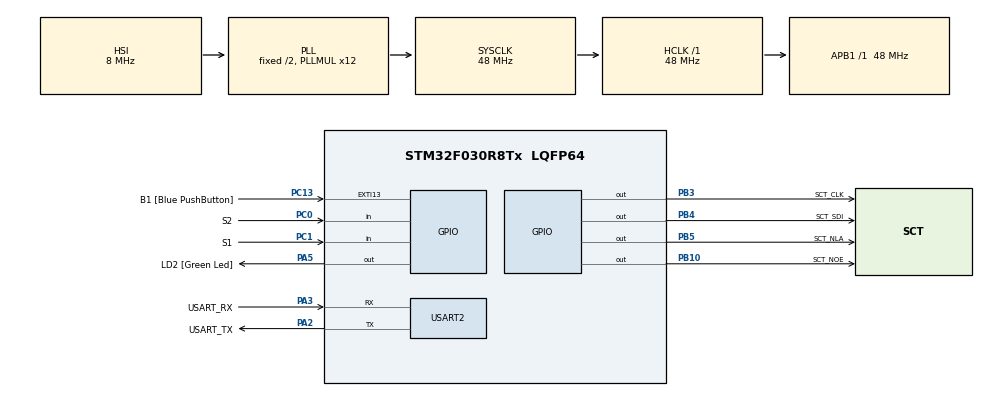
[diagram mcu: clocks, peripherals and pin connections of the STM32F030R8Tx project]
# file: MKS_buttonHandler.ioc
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Mcu.Family=STM32F0
Mcu.Name=STM32F030R8Tx
Mcu.Package=LQFP64
PA13.GPIO_Label=TMS
PA13.Mode=Serial_Wire
PA13.Signal=SYS_SWDIO
PA14.GPIO_Label=TCK
PA14.Mode=Serial_Wire
PA14.Signal=SYS_SWCLK
PA2.GPIO_Label=USART_TX
PA2.GPIO_Mode=GPIO_MODE_AF_PP
PA2.GPIO_PuPd=GPIO_NOPULL
PA2.GPIO_Speed=GPIO_SPEED_FREQ_LOW
PA2.Mode=Asynchronous
PA2.Signal=USART2_TX
PA3.GPIO_Label=USART_RX
PA3.GPIO_Mode=GPIO_MODE_AF_PP
PA3.GPIO_PuPd=GPIO_NOPULL
PA3.GPIO_Speed=GPIO_SPEED_FREQ_LOW
PA3.Mode=Asynchronous
PA3.Signal=USART2_RX
PA5.GPIO_Label=LD2 [Green Led]
PA5.GPIO_Mode=GPIO_MODE_OUTPUT_PP
PA5.GPIO_PuPd=GPIO_NOPULL
PA5.GPIO_Speed=GPIO_SPEED_FREQ_LOW
PA5.Signal=GPIO_Output
PB10.GPIO_Label=SCT_NOE
PB10.Signal=GPIO_Output
PB3.GPIO_Label=SCT_CLK
PB3.Signal=GPIO_Output
PB4.GPIO_Label=SCT_SDI
PB4.Signal=GPIO_Output
PB5.GPIO_Label=SCT_NLA
PB5.Signal=GPIO_Output
PC0.GPIO_Label=S2
PC0.GPIO_PuPd=GPIO_PULLUP
PC0.Signal=GPIO_Input
PC1.GPIO_Label=S1
PC1.GPIO_PuPd=GPIO_PULLUP
PC1.Signal=GPIO_Input
PC13.GPIO_Label=B1 [Blue PushButton]
PC13.GPIO_ModeDefaultEXTI=GPIO_MODE_IT_FALLING
PC13.Signal=GPXTI13
PC14-OSC32_IN.Mode=LSE-External-Oscillator
PC14-OSC32_IN.Signal=RCC_OSC32_IN
PC15-OSC32_OUT.Mode=LSE-External-Oscillator
PC15-OSC32_OUT.Signal=RCC_OSC32_OUT
PF0-OSC_IN.Mode=HSE-External-Clock-Source
PF0-OSC_IN.Signal=RCC_OSC_IN
PF1-OSC_OUT.Signal=RCC_OSC_OUT
ProjectManager.HeapSize=0x200
ProjectManager.StackSize=0x400
ProjectManager.TargetToolchain=STM32CubeIDE
RCC.AHBFreq_Value=48000000
RCC.APB1Freq_Value=48000000
RCC.APB1TimFreq_Value=48000000
RCC.HCLKFreq_Value=48000000
RCC.PLLMUL=RCC_PLL_MUL12
RCC.SYSCLKFreq_VALUE=48000000
RCC.SYSCLKSource=RCC_SYSCLKSOURCE_PLLCLK
USART2.VirtualMode-Asynchronous=VM_ASYNC
board=NUCLEO-F030R8

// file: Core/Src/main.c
/* USER CODE BEGIN Header */
/**
  ******************************************************************************
  * @file           : main.c
  * @brief          : Main program body
  ******************************************************************************
  * @attention
  *
  * Copyright (c) 2022 STMicroelectronics.
  * All rights reserved.
  *
  * This software is licensed under terms that can be found in the LICENSE file
  * in the root directory of this software component.
  * If no LICENSE file comes with this software, it is provided AS-IS.
  *
  ******************************************************************************
  */
/* USER CODE END Header */
#include "main.h"

/* USER CODE BEGIN Includes */
#include <stdbool.h>
#include <stdio.h>
#include "sct.h"
/* USER CODE END Includes */

/* USER CODE BEGIN PD */
#define DEBOUNCE_CONST 2
/* USER CODE END PD */

UART_HandleTypeDef huart2;

void SystemClock_Config(void);
static void MX_GPIO_Init(void);
static void MX_USART2_UART_Init(void);

/* USER CODE BEGIN 0 */

//----------BUTTON HANDLER--------------

void button(bool *p_state1, bool *p_state2){

	static uint16_t debounceS1 = 0xFFFF;
	static uint16_t debounceS2 = 0xFFFF;
	static uint32_t debounceDelay = 0;

	if(HAL_GetTick() > debounceDelay + DEBOUNCE_CONST){

		debounceS1 <<= 1;
		debounceS2 <<= 1;

		debounceDelay = HAL_GetTick();

		if(!HAL_GPIO_ReadPin(S1_GPIO_Port,S1_Pin)) debounceS1 |= 0x0001;
		if(!HAL_GPIO_ReadPin(S2_GPIO_Port,S2_Pin)) debounceS2 |= 0x0001;

		if(debounceS1 == 0x8000) *p_state1 =true;
		if(debounceS2 == 0x8000) *p_state2 = true;

	}else{
		*p_state1 = false;
		*p_state2 = false;
	}

}
/* USER CODE END 0 */

int main(void)
{

  /* MCU Configuration--------------------------------------------------------*/

  /* Reset of all peripherals, Initializes the Flash interface and the Systick. */
  HAL_Init();

  /* USER CODE BEGIN Init */
sct_init();
  /* USER CODE END Init */

  /* Configure the system clock */
  SystemClock_Config();

  /* Initialize all configured peripherals */
  MX_GPIO_Init();
  MX_USART2_UART_Init();

  /* Infinite loop */
  while (1)
  {

	  /* USER CODE BEGIN 3 */
	  static bool buttState1;
	  static bool buttState2;
	  static uint16_t cnt = 500;

	  button(&buttState1, &buttState2);

	  if(buttState1) cnt++;
	  if(buttState2) cnt--;

	  sct_value(cnt, 0);

  }
  /* USER CODE END 3 */
}

void SystemClock_Config(void)
{
  RCC_OscInitTypeDef RCC_OscInitStruct = {0};
  RCC_ClkInitTypeDef RCC_ClkInitStruct = {0};

  /** Initializes the RCC Oscillators according to the specified parameters
  * in the RCC_OscInitTypeDef structure.
  */
  RCC_OscInitStruct.OscillatorType = RCC_OSCILLATORTYPE_HSI;
  RCC_OscInitStruct.HSIState = RCC_HSI_ON;
  RCC_OscInitStruct.HSICalibrationValue = RCC_HSICALIBRATION_DEFAULT;
  RCC_OscInitStruct.PLL.PLLState = RCC_PLL_ON;
  RCC_OscInitStruct.PLL.PLLSource = RCC_PLLSOURCE_HSI;
  RCC_OscInitStruct.PLL.PLLMUL = RCC_PLL_MUL12;
  RCC_OscInitStruct.PLL.PREDIV = RCC_PREDIV_DIV1;
  if (HAL_RCC_OscConfig(&RCC_OscInitStruct) != HAL_OK)
  {
    Error_Handler();
  }
  /** Initializes the CPU, AHB and APB buses clocks
  */
  RCC_ClkInitStruct.ClockType = RCC_CLOCKTYPE_HCLK|RCC_CLOCKTYPE_SYSCLK
                              |RCC_CLOCKTYPE_PCLK1;
  RCC_ClkInitStruct.SYSCLKSource = RCC_SYSCLKSOURCE_PLLCLK;
  RCC_ClkInitStruct.AHBCLKDivider = RCC_SYSCLK_DIV1;
  RCC_ClkInitStruct.APB1CLKDivider = RCC_HCLK_DIV1;

  if (HAL_RCC_ClockConfig(&RCC_ClkInitStruct, FLASH_LATENCY_1) != HAL_OK)
  {
    Error_Handler();
  }
}

static void MX_USART2_UART_Init(void)
{

  huart2.Instance = USART2;
  huart2.Init.BaudRate = 38400;
  huart2.Init.WordLength = UART_WORDLENGTH_8B;
  huart2.Init.StopBits = UART_STOPBITS_1;
  huart2.Init.Parity = UART_PARITY_NONE;
  huart2.Init.Mode = UART_MODE_TX_RX;
  huart2.Init.HwFlowCtl = UART_HWCONTROL_NONE;
  huart2.Init.OverSampling = UART_OVERSAMPLING_16;
  huart2.Init.OneBitSampling = UART_ONE_BIT_SAMPLE_DISABLE;
  huart2.AdvancedInit.AdvFeatureInit = UART_ADVFEATURE_NO_INIT;
  if (HAL_UART_Init(&huart2) != HAL_OK)
  {
    Error_Handler();
  }

}

static void MX_GPIO_Init(void)
{
  GPIO_InitTypeDef GPIO_InitStruct = {0};

  /* GPIO Ports Clock Enable */
  __HAL_RCC_GPIOC_CLK_ENABLE();
  __HAL_RCC_GPIOF_CLK_ENABLE();
  __HAL_RCC_GPIOA_CLK_ENABLE();
  __HAL_RCC_GPIOB_CLK_ENABLE();

  /*Configure GPIO pin Output Level */
  HAL_GPIO_WritePin(GPIOA, GPIO_PIN_5, GPIO_PIN_RESET);

  /*Configure GPIO pin Output Level */
  HAL_GPIO_WritePin(GPIOB, GPIO_PIN_10|GPIO_PIN_3|GPIO_PIN_4|GPIO_PIN_5, GPIO_PIN_RESET);

  /*Configure GPIO pin : PC13 */
  GPIO_InitStruct.Pin = GPIO_PIN_13;
  GPIO_InitStruct.Mode = GPIO_MODE_IT_FALLING;
  GPIO_InitStruct.Pull = GPIO_NOPULL;
  HAL_GPIO_Init(GPIOC, &GPIO_InitStruct);

  /*Configure GPIO pins : PC0 PC1 */
  GPIO_InitStruct.Pin = GPIO_PIN_0|GPIO_PIN_1;
  GPIO_InitStruct.Mode = GPIO_MODE_INPUT;
  GPIO_InitStruct.Pull = GPIO_PULLUP;
  HAL_GPIO_Init(GPIOC, &GPIO_InitStruct);

  /*Configure GPIO pin : PA5 */
  GPIO_InitStruct.Pin = GPIO_PIN_5;
  GPIO_InitStruct.Mode = GPIO_MODE_OUTPUT_PP;
  GPIO_InitStruct.Pull = GPIO_NOPULL;
  GPIO_InitStruct.Speed = GPIO_SPEED_FREQ_LOW;
  HAL_GPIO_Init(GPIOA, &GPIO_InitStruct);

  /*Configure GPIO pins : PB10 PB3 PB4 PB5 */
  GPIO_InitStruct.Pin = GPIO_PIN_10|GPIO_PIN_3|GPIO_PIN_4|GPIO_PIN_5;
  GPIO_InitStruct.Mode = GPIO_MODE_OUTPUT_PP;
  GPIO_InitStruct.Pull = GPIO_NOPULL;
  GPIO_InitStruct.Speed = GPIO_SPEED_FREQ_LOW;
  HAL_GPIO_Init(GPIOB, &GPIO_InitStruct);

}

void Error_Handler(void)
{
  __disable_irq();
  while (1)
  {
  }
}
